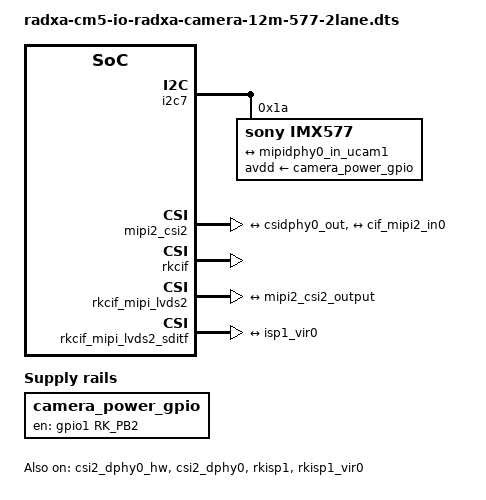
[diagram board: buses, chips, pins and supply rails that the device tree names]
/dts-v1/;
/plugin/;

#include <dt-bindings/power/rk3588-power.h>
#include <dt-bindings/gpio/gpio.h>
#include <dt-bindings/pinctrl/rockchip.h>

/ {
	metadata {
		title = "Enable Radxa Camera 12M 577 on 2-lane CSI0 (15-pin)";
		compatible = "radxa,cm5-io";
		category = "camera";
		exclusive = "GPIO1_B2", "csi2_dphy0", "i2c7";
		description = "Enable Radxa Camera 12M 577 on 2-lane CSI0 (15-pin).";
	};
};

&{/} {
	camera_power_gpio: camera-power-gpio {
		compatible = "regulator-fixed";
		regulator-name = "camera_power_gpio";
		startup-delay-us = <250000>;
		off-on-delay-us = <20000>;
		enable-active-high;
		gpio = <&gpio1 RK_PB2 GPIO_ACTIVE_HIGH>;
		pinctrl-names = "default";
		pinctrl-0 = <&cam_power_gpio>;
	};
};

&i2c7 {
	status = "okay";
	pinctrl-0 = <&i2c7m2_xfer>;
	#address-cells = <1>;
	#size-cells = <0>;

	imx577: imx577@1a {
		status = "okay";
		compatible = "sony,imx577";
		reg = <0x1a>;
		power-domains = <&power RK3588_PD_VI>;
		avdd-supply = <&camera_power_gpio>;
		rockchip,camera-module-index = <1>;
		rockchip,camera-module-facing = "back";
		rockchip,camera-module-name = "RADXA-CAMERA-12M";
		rockchip,camera-module-lens-name = "default";
		port {
			imx577_out0: endpoint {
				remote-endpoint = <&mipidphy0_in_ucam1>;
				data-lanes = <1 2>;
			};
		};
	};
};

&csi2_dphy0_hw {
	status = "okay";
};

&csi2_dphy0 {
	status = "okay";

	ports {
		#address-cells = <1>;
		#size-cells = <0>;

		port@0 {
			reg = <0>;
			#address-cells = <1>;
			#size-cells = <0>;

			mipidphy0_in_ucam1: endpoint@2 {
				reg = <2>;
				remote-endpoint = <&imx577_out0>;
				data-lanes = <1 2>;
			};
		};

		port@1 {
			reg = <1>;
			#address-cells = <1>;
			#size-cells = <0>;

			csidphy0_out: endpoint@0 {
				reg = <0>;
				remote-endpoint = <&mipi2_csi2_input>;
			};
		};
	};
};

&mipi2_csi2 {
	status = "okay";

	ports {
		#address-cells = <1>;
		#size-cells = <0>;

		port@0 {
			reg = <0>;
			#address-cells = <1>;
			#size-cells = <0>;

			mipi2_csi2_input: endpoint@1 {
				reg = <1>;
				remote-endpoint = <&csidphy0_out>;
			};
		};

		port@1 {
			reg = <1>;
			#address-cells = <1>;
			#size-cells = <0>;

			mipi2_csi2_output: endpoint@0 {
				reg = <0>;
				remote-endpoint = <&cif_mipi2_in0>;
			};
		};
	};
};

&rkcif {
	status = "okay";
};

&rkcif_mipi_lvds2 {
	status = "okay";

	port {
		cif_mipi2_in0: endpoint {
			remote-endpoint = <&mipi2_csi2_output>;
		};
	};
};

&rkcif_mipi_lvds2_sditf {
	status = "okay";

	port {
		mipi_lvds2_sditf: endpoint {
			remote-endpoint = <&isp1_vir0>;
		};
	};
};

&rkcif_mmu {
	status = "okay";
};

&isp1_mmu {
	status = "okay";
};

&rkisp1 {
	status = "okay";
};

&rkisp1_vir0 {
	status = "okay";

	port {
		#address-cells = <1>;
		#size-cells = <0>;

		isp1_vir0: endpoint@0 {
			reg = <0>;
			remote-endpoint = <&mipi_lvds2_sditf>;
		};
	};
};

&pinctrl {
	camera {
		cam_power_gpio: cam-power-gpio {
			rockchip,pins = <1 RK_PB2 RK_FUNC_GPIO &pcfg_pull_up>;
		};
	};
};
